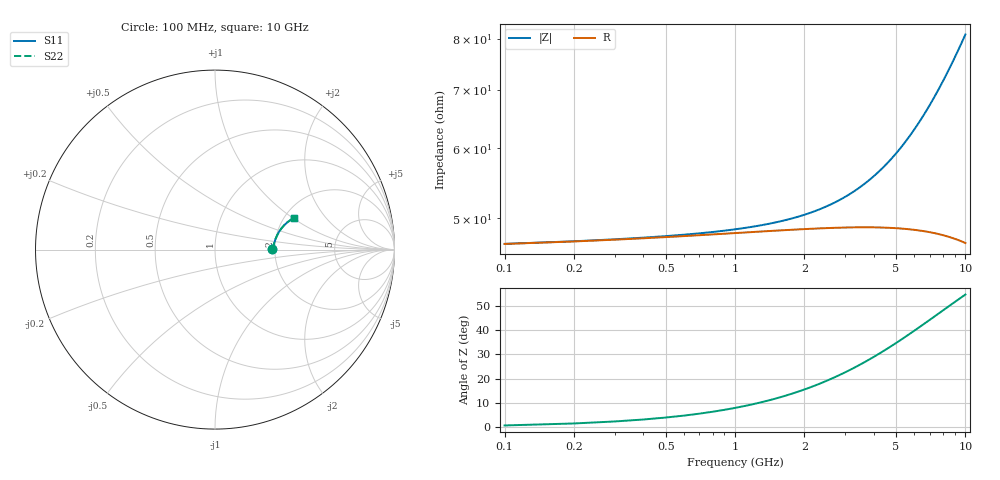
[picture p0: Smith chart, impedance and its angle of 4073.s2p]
# Hz S RI R 50.00
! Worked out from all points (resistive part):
!   100 points, 100 MHz to 10 GHz, reference 50 ohm
!   read as one part in series: R = 46.7 ohm at 100 MHz
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1e8  0.3184 0.00241  0.6816 -0.00376  0.6816 -0.00376  0.3184 0.00241
2e8  0.3199 0.00479  0.6801 -0.00749  0.6801 -0.00749  0.3199 0.00479
3e8  0.321 0.00715  0.679 -0.0112  0.679 -0.0112  0.321 0.00715
5e8  0.3227 0.0118  0.6773 -0.0186  0.6773 -0.0186  0.3227 0.0118
1.3e9  0.328 0.0303  0.6718 -0.0478  0.6718 -0.0478  0.328 0.0303
1.8e9  0.3314 0.0415  0.6683 -0.0659  0.6683 -0.0659  0.3314 0.0415
2.2e9  0.3343 0.0504  0.6652 -0.0801  0.6652 -0.0801  0.3343 0.0504
2.6e9  0.3374 0.0591  0.6618 -0.0943  0.6618 -0.0943  0.3374 0.0591
3e9  0.3409 0.0676  0.6582 -0.1082  0.6582 -0.1082  0.3409 0.0676
3.4e9  0.3446 0.076  0.6541 -0.122  0.6541 -0.122  0.3446 0.076
3.8e9  0.3486 0.0842  0.6498 -0.1356  0.6498 -0.1356  0.3486 0.0842
4.2e9  0.3529 0.0922  0.6451 -0.149  0.6451 -0.149  0.3529 0.0922
4.6e9  0.3576 0.0999  0.6401 -0.1622  0.6401 -0.1622  0.3576 0.0999
5.1e9  0.3637 0.1093  0.6334 -0.1783  0.6334 -0.1783  0.3637 0.1093
5.9e9  0.3745 0.1234  0.6217 -0.2034  0.6217 -0.2034  0.3745 0.1234
6.7e9  0.3863 0.1364  0.6088 -0.2273  0.6088 -0.2273  0.3863 0.1364
7.2e9  0.3941 0.1439  0.6003 -0.2417  0.6003 -0.2417  0.3941 0.1439
7.6e9  0.4005 0.1496  0.5931 -0.2529  0.5931 -0.2529  0.4005 0.1496
8.4e9  0.414 0.1601  0.5782 -0.2743  0.5782 -0.2743  0.414 0.1601
9.2e9  0.4281 0.1692  0.5625 -0.2945  0.5625 -0.2945  0.4281 0.1692
9.6e9  0.4354 0.1733  0.5544 -0.3042  0.5544 -0.3042  0.4354 0.1733
1e10  0.4427 0.1771  0.5462 -0.3135  0.5462 -0.3135  0.4427 0.1771
